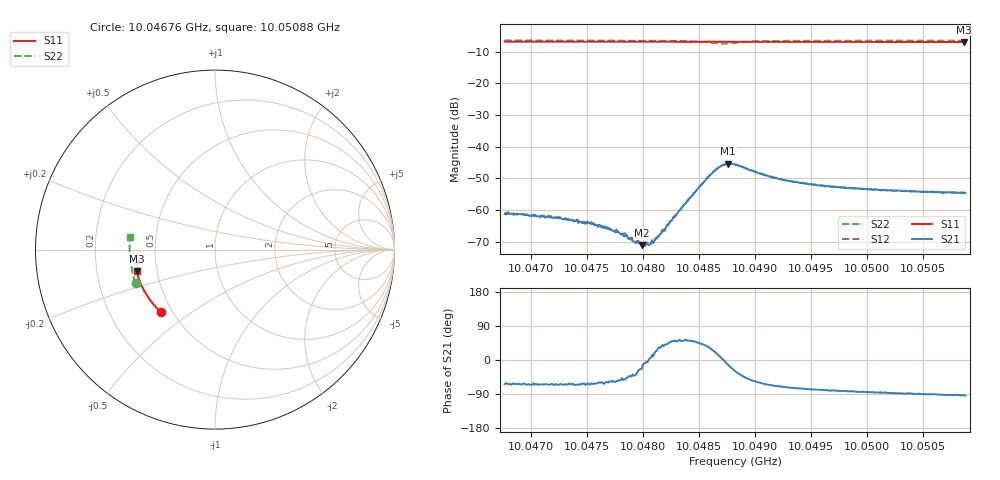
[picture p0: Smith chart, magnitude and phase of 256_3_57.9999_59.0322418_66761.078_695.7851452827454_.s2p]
#  HZ  S  RI  R  50.00
! Rohde & Schwarz Vector Network Analyzer
! Rohde-Schwarz,ZNB20-2Port,1311601062101988,3.16
! Created: UTC 3/21/2024, 1:01:47 AM
! freq[Hz]  re:S11  im:S11  re:S21  im:S21  re:S12  im:S12  re:S22  im:S22
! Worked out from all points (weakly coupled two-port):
!   401 points, 10.04676 GHz to 10.05088 GHz, reference 50 ohm
!   highest |S21| = -45.39 dB at 10.04876 GHz (marker M1); lowest = -71.2 dB at 10.04799 GHz (marker M2)
!   lowest |S11| = -6.9 dB at 10.05087 GHz (marker M3), VSWR 2.66, Z = 19.1 - j5.83 ohm
!   |S11| at or under -10 dB: nowhere
!   |S22| runs from -7.4 to -6.4 dB; largest |S21 - S12| = 0.00036
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1.0046762e10  -0.2998 -0.3499  0.000381 -0.000777  0.000435 -0.000757  -0.4417 -0.1867
1.0047153e10  -0.3186 -0.3318  0.000332 -0.000728  0.000374 -0.000717  -0.4506 -0.1615
1.0047452e10  -0.3319 -0.3174  0.000276 -0.000559  0.000316 -0.000578  -0.4566 -0.1416
1.0047524e10  -0.3351 -0.3139  0.000268 -0.000563  0.000338 -0.000518  -0.4578 -0.1367
1.0047678e10  -0.3419 -0.3061  0.000282 -0.00045  0.000294 -0.0004  -0.4602 -0.1257
1.0047843e10  -0.3487 -0.2977  0.000252 -0.000304  0.00027 -0.000317  -0.4625 -0.1138
1.0047915e10  -0.3517 -0.2939  0.000236 -0.00021  0.000255 -0.000204  -0.4635 -0.1086
1.0047987e10  -0.3546 -0.2901  0.000252 -0.000111  0.00029 -9.43e-05  -0.4641 -0.1028
1.0048028e10  -0.3562 -0.288  0.000308 -2.65e-05  0.000284 -1.12e-05  -0.4644 -0.0995
1.0048048e10  -0.3571 -0.2868  0.00028 1.89e-06  0.000282 1.3e-06  -0.4645 -0.0978
1.0048079e10  -0.3583 -0.2852  0.000323 7.77e-05  0.000312 9.67e-05  -0.4646 -0.0954
1.0048141e10  -0.3607 -0.282  0.000319 0.000212  0.000319 0.000219  -0.4649 -0.0901
1.0048367e10  -0.3694 -0.2699  0.000747 0.000975  0.000695 0.000977  -0.4621 -0.069
1.0048594e10  -0.3775 -0.2573  0.00295 0.00185  0.00287 0.00203  -0.4413 -0.0489
1.0048686e10  -0.3806 -0.2522  0.0048 0.000748  0.00477 0.00106  -0.4259 -0.056
1.0048758e10  -0.3829 -0.2483  0.00525 -0.00116  0.00534 -0.000852  -0.425 -0.0706
1.004882e10  -0.385 -0.245  0.00458 -0.00256  0.00474 -0.00229  -0.4336 -0.0788
1.004916e10  -0.3964 -0.2256  0.00125 -0.00302  0.00146 -0.00295  -0.4678 -0.0566
1.004951e10  -0.4069 -0.2051  0.000534 -0.00245  0.000686 -0.00244  -0.4744 -0.0274
1.0050199e10  -0.4242 -0.1632  0.000106 -0.00203  0.000197 -0.00202  -0.4755 0.0222
1.0050868e10  -0.4369 -0.1212  -0.000133 -0.00187  9.91e-07 -0.00186  -0.4711 0.0675
1.0050878e10  -0.4373 -0.1206  -0.000125 -0.00185  -9.59e-06 -0.00188  -0.471 0.0682
